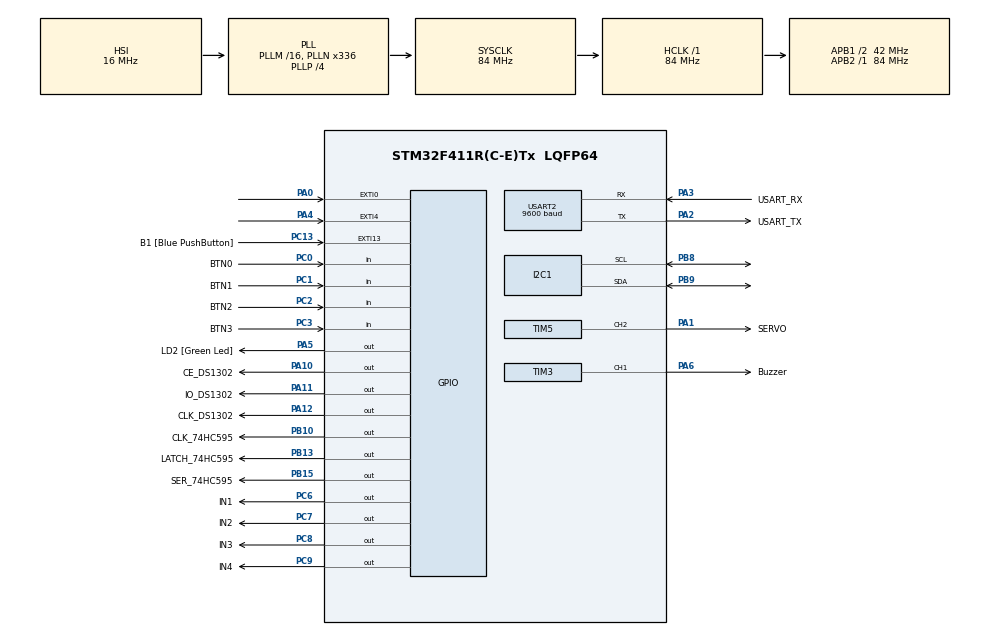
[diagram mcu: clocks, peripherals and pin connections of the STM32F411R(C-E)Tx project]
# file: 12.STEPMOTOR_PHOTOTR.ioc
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FREERTOS.Mutexes01=myMutex01,Dynamic,NULL
FREERTOS.Tasks01=defaultTask,24,128,StartDefaultTask,Default,NULL,Dynamic,NULL,NULL;myTask02,8,128,StartTask02,Default,NULL,Dynamic,NULL,NULL;myTask03,8,128,StartTask03,Default,NULL,Dynamic,NULL,NULL
FREERTOS.configUSE_NEWLIB_REENTRANT=1
Mcu.Family=STM32F4
Mcu.Name=STM32F411R(C-E)Tx
Mcu.Package=LQFP64
NVIC.EXTI0_IRQn=true\:5\:0\:false\:false\:true\:true\:true\:true
NVIC.EXTI4_IRQn=true\:5\:0\:false\:false\:true\:true\:true\:true
NVIC.PriorityGroup=NVIC_PRIORITYGROUP_4
NVIC.TIM1_TRG_COM_TIM11_IRQn=true\:5\:0\:false\:false\:true\:true\:true\:true
NVIC.TIM1_UP_TIM10_IRQn=true\:15\:0\:false\:false\:true\:false\:false\:true
NVIC.TIM3_IRQn=true\:5\:0\:false\:false\:true\:true\:true\:true
NVIC.TIM5_IRQn=true\:5\:0\:false\:false\:true\:true\:true\:true
NVIC.TimeBase=TIM1_UP_TIM10_IRQn
NVIC.TimeBaseIP=TIM10
NVIC.USART2_IRQn=true\:5\:0\:false\:false\:true\:true\:true\:true
PA0-WKUP.Signal=GPXTI0
PA1.GPIO_Label=SERVO
PA1.Signal=S_TIM5_CH2
PA10.GPIO_Label=CE_DS1302
PA10.Signal=GPIO_Output
PA11.GPIO_Label=IO_DS1302
PA11.Signal=GPIO_Output
PA12.GPIO_Label=CLK_DS1302
PA12.Signal=GPIO_Output
PA13.GPIO_Label=TMS
PA13.Mode=Serial_Wire
PA13.Signal=SYS_JTMS-SWDIO
PA14.GPIO_Label=TCK
PA14.Mode=Serial_Wire
PA14.Signal=SYS_JTCK-SWCLK
PA2.GPIO_Label=USART_TX
PA2.Mode=Asynchronous
PA2.Signal=USART2_TX
PA3.GPIO_Label=USART_RX
PA3.Mode=Asynchronous
PA3.Signal=USART2_RX
PA4.Signal=GPXTI4
PA5.GPIO_Label=LD2 [Green Led]
PA5.Signal=GPIO_Output
PA6.GPIO_Label=Buzzer
PA6.Signal=S_TIM3_CH1
PB10.GPIO_Label=CLK_74HC595
PB10.Signal=GPIO_Output
PB13.GPIO_Label=LATCH_74HC595
PB13.Signal=GPIO_Output
PB15.GPIO_Label=SER_74HC595
PB15.Signal=GPIO_Output
PB8.Mode=I2C
PB8.Signal=I2C1_SCL
PB9.Mode=I2C
PB9.Signal=I2C1_SDA
PC0.GPIO_Label=BTN0
PC0.Signal=GPIO_Input
PC1.GPIO_Label=BTN1
PC1.Signal=GPIO_Input
PC13-ANTI_TAMP.GPIO_Label=B1 [Blue PushButton]
PC13-ANTI_TAMP.GPIO_ModeDefaultEXTI=GPIO_MODE_IT_FALLING
PC13-ANTI_TAMP.Signal=GPXTI13
PC14-OSC32_IN.Mode=LSE-External-Oscillator
PC14-OSC32_IN.Signal=RCC_OSC32_IN
PC15-OSC32_OUT.Mode=LSE-External-Oscillator
PC15-OSC32_OUT.Signal=RCC_OSC32_OUT
PC2.GPIO_Label=BTN2
PC2.Signal=GPIO_Input
PC3.GPIO_Label=BTN3
PC3.Signal=GPIO_Input
PC6.GPIO_Label=IN1
PC6.Signal=GPIO_Output
PC7.GPIO_Label=IN2
PC7.Signal=GPIO_Output
PC8.GPIO_Label=IN3
PC8.Signal=GPIO_Output
PC9.GPIO_Label=IN4
PC9.Signal=GPIO_Output
PH0\ -\ OSC_IN.Mode=HSE-External-Clock-Source
PH0\ -\ OSC_IN.Signal=RCC_OSC_IN
PH1\ -\ OSC_OUT.Mode=HSE-External-Clock-Source
PH1\ -\ OSC_OUT.Signal=RCC_OSC_OUT
ProjectManager.HeapSize=0x200
ProjectManager.StackSize=0x400
ProjectManager.TargetToolchain=STM32CubeIDE
RCC.48MHZClocksFreq_Value=84000000
RCC.AHBFreq_Value=84000000
RCC.APB1CLKDivider=RCC_HCLK_DIV2
RCC.APB1Freq_Value=42000000
RCC.APB1TimFreq_Value=84000000
RCC.APB2Freq_Value=84000000
RCC.APB2TimFreq_Value=84000000
RCC.CortexFreq_Value=84000000
RCC.FLatency-AdvancedSettings=FLASH_LATENCY_2
RCC.HCLKFreq_Value=84000000
RCC.HSE_VALUE=8000000
RCC.HSI_VALUE=16000000
RCC.PLLN=336
RCC.PLLP=RCC_PLLP_DIV4
RCC.SYSCLKFreq_VALUE=84000000
RCC.SYSCLKSource=RCC_SYSCLKSOURCE_PLLCLK
RCC.VCOOutputFreq_Value=336000000
SH.S_TIM3_CH1.0=TIM3_CH1,PWM Generation1 CH1
SH.S_TIM5_CH2.0=TIM5_CH2,PWM Generation2 CH2
TIM11.Period=1000-1
TIM11.Prescaler=84-1
TIM2.Prescaler=84-1
TIM3.Channel-PWM\ Generation1\ CH1=TIM_CHANNEL_1
TIM3.Period=400-1
TIM3.Prescaler=52.5-1
TIM3.Pulse-PWM\ Generation1\ CH1=200-1
TIM5.Channel-PWM\ Generation2\ CH2=TIM_CHANNEL_2
TIM5.Period=1000-1
TIM5.Prescaler=1680-1
USART2.BaudRate=9600
USART2.VirtualMode=VM_ASYNC
VP_FREERTOS_VS_CMSIS_V2.Mode=CMSIS_V2
VP_SYS_VS_tim10.Mode=TIM10
VP_TIM11_VS_ClockSourceINT.Mode=Enable_Timer
VP_TIM2_VS_ClockSourceINT.Mode=Internal
VP_TIM3_VS_ClockSourceINT.Mode=Internal
VP_TIM5_VS_ClockSourceINT.Mode=Internal
board=NUCLEO-F411RE

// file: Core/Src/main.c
/* USER CODE BEGIN Header */
/**
  ******************************************************************************
  * @file           : main.c
  * @brief          : Main program body
  ******************************************************************************
  * @attention
  *
  * <h2><center>&copy; Copyright (c) 2025 STMicroelectronics.
  * All rights reserved.</center></h2>
  *
  * This software component is licensed by ST under BSD 3-Clause license,
  * the "License"; You may not use this file except in compliance with the
  * License. You may obtain a copy of the License at:
  *                        opensource.org/licenses/BSD-3-Clause
  *
  ******************************************************************************
  */
/* USER CODE END Header */
#include "main.h"
#include "cmsis_os.h"

/* USER CODE BEGIN Includes */
#include "extern.h"
/* USER CODE END Includes */

I2C_HandleTypeDef hi2c1;

TIM_HandleTypeDef htim2;
TIM_HandleTypeDef htim3;
TIM_HandleTypeDef htim5;
TIM_HandleTypeDef htim11;

UART_HandleTypeDef huart2;

/* Definitions for defaultTask */
osThreadId_t defaultTaskHandle;
const osThreadAttr_t defaultTask_attributes = {
  .name = "defaultTask",
  .stack_size = 128 * 4,
  .priority = (osPriority_t) osPriorityNormal,
};
/* Definitions for myTask02 */
osThreadId_t myTask02Handle;
const osThreadAttr_t myTask02_attributes = {
  .name = "myTask02",
  .stack_size = 128 * 4,
  .priority = (osPriority_t) osPriorityLow,
};
/* Definitions for myTask03 */
osThreadId_t myTask03Handle;
const osThreadAttr_t myTask03_attributes = {
  .name = "myTask03",
  .stack_size = 128 * 4,
  .priority = (osPriority_t) osPriorityLow,
};
/* Definitions for myMutex01 */
osMutexId_t myMutex01Handle;
const osMutexAttr_t myMutex01_attributes = {
  .name = "myMutex01"
};
/* USER CODE BEGIN PV */
uint8_t rx_data; //uart2 rx byte
volatile int TIM11_1ms_counter = 0;
volatile int TIM11_1ms_counter2 = 0;
volatile int line0_timer = 0;
volatile int line1_timer = 0;
/* USER CODE END PV */

void SystemClock_Config(void);
static void MX_GPIO_Init(void);
static void MX_USART2_UART_Init(void);
static void MX_TIM11_Init(void);
static void MX_TIM2_Init(void);
static void MX_I2C1_Init(void);
static void MX_TIM3_Init(void);
static void MX_TIM5_Init(void);
void StartDefaultTask(void *argument);
void StartTask02(void *argument);
void StartTask03(void *argument);

/* USER CODE BEGIN 0 */

#ifdef __GNUC__    // Add for printf
/* With GCC, small printf (option LD Linker->Libraries->Small printf
   set to 'Yes') calls __io_putchar() */
#define PUTCHAR_PROTOTYPE int __io_putchar(int ch)
#else
#define PUTCHAR_PROTOTYPE int fputc(int ch, FILE *f)
#endif /* __GNUC__ */
/**
  * @brief  Retargets the C library printf function to the USART.
  * @param  None
  * @retval None
  */
PUTCHAR_PROTOTYPE   // Add for printf
{
  /* Place your implementation of fputc here */
  /* e.g. write a character to the USART3 and Loop until the end of transmission */
  HAL_UART_Transmit(&huart2, (uint8_t *)&ch, 1, 0xFFFF);

  return ch;
}
/* USER CODE END 0 */

int main(void)
{

  /* MCU Configuration--------------------------------------------------------*/

  /* Reset of all peripherals, Initializes the Flash interface and the Systick. */
  HAL_Init();

  /* Configure the system clock */
  SystemClock_Config();

  /* Initialize all configured peripherals */
  MX_GPIO_Init();
  MX_USART2_UART_Init();
  MX_TIM11_Init();
  MX_TIM2_Init();
  MX_I2C1_Init();
  MX_TIM3_Init();
  MX_TIM5_Init();
  /* USER CODE BEGIN 2 */
  i2c_lcd_init();
  HAL_GPIO_WritePin(GPIOB, GPIO_PIN_10 | GPIO_PIN_13 | GPIO_PIN_15, 0);
  HAL_Delay(10); // DOTMATRIX init

  HAL_UART_Receive_IT(&huart2, &rx_data, 1);
  HAL_TIM_Base_Start_IT(&htim11);
  HAL_TIM_Base_Start_IT(&htim2);  //for make delay_us

  //stepmotor_main();
  //dotmatrix_main_func();
  //dotmatrix_main_test();
  //led_main();
  //i2c_lcd_main();
  //ds1302_main();
  //buzzer_main();
  //servo_motor_main();
  /* USER CODE END 2 */

  /* Init scheduler */
  osKernelInitialize();
  /* Create the mutex(es) */
  /* creation of myMutex01 */
  myMutex01Handle = osMutexNew(&myMutex01_attributes);

  /* Create the thread(s) */
  /* creation of defaultTask */
  defaultTaskHandle = osThreadNew(StartDefaultTask, NULL, &defaultTask_attributes);

  /* creation of myTask02 */
  myTask02Handle = osThreadNew(StartTask02, NULL, &myTask02_attributes);

  /* creation of myTask03 */
  myTask03Handle = osThreadNew(StartTask03, NULL, &myTask03_attributes);

  /* Start scheduler */
  osKernelStart();

  /* We should never get here as control is now taken by the scheduler */
  /* Infinite loop */
  /* USER CODE BEGIN WHILE */
  while (1)
  {
	  button_led_toggle_test();
    /* USER CODE END WHILE */

  }
}

void SystemClock_Config(void)
{
  RCC_OscInitTypeDef RCC_OscInitStruct = {0};
  RCC_ClkInitTypeDef RCC_ClkInitStruct = {0};

  /** Configure the main internal regulator output voltage
  */
  __HAL_RCC_PWR_CLK_ENABLE();
  __HAL_PWR_VOLTAGESCALING_CONFIG(PWR_REGULATOR_VOLTAGE_SCALE1);
  /** Initializes the RCC Oscillators according to the specified parameters
  * in the RCC_OscInitTypeDef structure.
  */
  RCC_OscInitStruct.OscillatorType = RCC_OSCILLATORTYPE_HSI;
  RCC_OscInitStruct.HSIState = RCC_HSI_ON;
  RCC_OscInitStruct.HSICalibrationValue = RCC_HSICALIBRATION_DEFAULT;
  RCC_OscInitStruct.PLL.PLLState = RCC_PLL_ON;
  RCC_OscInitStruct.PLL.PLLSource = RCC_PLLSOURCE_HSI;
  RCC_OscInitStruct.PLL.PLLM = 16;
  RCC_OscInitStruct.PLL.PLLN = 336;
  RCC_OscInitStruct.PLL.PLLP = RCC_PLLP_DIV4;
  RCC_OscInitStruct.PLL.PLLQ = 4;
  if (HAL_RCC_OscConfig(&RCC_OscInitStruct) != HAL_OK)
  {
    Error_Handler();
  }
  /** Initializes the CPU, AHB and APB buses clocks
  */
  RCC_ClkInitStruct.ClockType = RCC_CLOCKTYPE_HCLK|RCC_CLOCKTYPE_SYSCLK
                              |RCC_CLOCKTYPE_PCLK1|RCC_CLOCKTYPE_PCLK2;
  RCC_ClkInitStruct.SYSCLKSource = RCC_SYSCLKSOURCE_PLLCLK;
  RCC_ClkInitStruct.AHBCLKDivider = RCC_SYSCLK_DIV1;
  RCC_ClkInitStruct.APB1CLKDivider = RCC_HCLK_DIV2;
  RCC_ClkInitStruct.APB2CLKDivider = RCC_HCLK_DIV1;

  if (HAL_RCC_ClockConfig(&RCC_ClkInitStruct, FLASH_LATENCY_2) != HAL_OK)
  {
    Error_Handler();
  }
}

static void MX_I2C1_Init(void)
{

  hi2c1.Instance = I2C1;
  hi2c1.Init.ClockSpeed = 100000;
  hi2c1.Init.DutyCycle = I2C_DUTYCYCLE_2;
  hi2c1.Init.OwnAddress1 = 0;
  hi2c1.Init.AddressingMode = I2C_ADDRESSINGMODE_7BIT;
  hi2c1.Init.DualAddressMode = I2C_DUALADDRESS_DISABLE;
  hi2c1.Init.OwnAddress2 = 0;
  hi2c1.Init.GeneralCallMode = I2C_GENERALCALL_DISABLE;
  hi2c1.Init.NoStretchMode = I2C_NOSTRETCH_DISABLE;
  if (HAL_I2C_Init(&hi2c1) != HAL_OK)
  {
    Error_Handler();
  }

}

static void MX_TIM2_Init(void)
{

  TIM_ClockConfigTypeDef sClockSourceConfig = {0};
  TIM_MasterConfigTypeDef sMasterConfig = {0};

  htim2.Instance = TIM2;
  htim2.Init.Prescaler = 84-1;
  htim2.Init.CounterMode = TIM_COUNTERMODE_UP;
  htim2.Init.Period = 4294967295;
  htim2.Init.ClockDivision = TIM_CLOCKDIVISION_DIV1;
  htim2.Init.AutoReloadPreload = TIM_AUTORELOAD_PRELOAD_DISABLE;
  if (HAL_TIM_Base_Init(&htim2) != HAL_OK)
  {
    Error_Handler();
  }
  sClockSourceConfig.ClockSource = TIM_CLOCKSOURCE_INTERNAL;
  if (HAL_TIM_ConfigClockSource(&htim2, &sClockSourceConfig) != HAL_OK)
  {
    Error_Handler();
  }
  sMasterConfig.MasterOutputTrigger = TIM_TRGO_RESET;
  sMasterConfig.MasterSlaveMode = TIM_MASTERSLAVEMODE_DISABLE;
  if (HAL_TIMEx_MasterConfigSynchronization(&htim2, &sMasterConfig) != HAL_OK)
  {
    Error_Handler();
  }

}

static void MX_TIM3_Init(void)
{

  TIM_ClockConfigTypeDef sClockSourceConfig = {0};
  TIM_MasterConfigTypeDef sMasterConfig = {0};
  TIM_OC_InitTypeDef sConfigOC = {0};

  htim3.Instance = TIM3;
  htim3.Init.Prescaler = 52.5-1;
  htim3.Init.CounterMode = TIM_COUNTERMODE_UP;
  htim3.Init.Period = 400-1;
  htim3.Init.ClockDivision = TIM_CLOCKDIVISION_DIV1;
  htim3.Init.AutoReloadPreload = TIM_AUTORELOAD_PRELOAD_DISABLE;
  if (HAL_TIM_Base_Init(&htim3) != HAL_OK)
  {
    Error_Handler();
  }
  sClockSourceConfig.ClockSource = TIM_CLOCKSOURCE_INTERNAL;
  if (HAL_TIM_ConfigClockSource(&htim3, &sClockSourceConfig) != HAL_OK)
  {
    Error_Handler();
  }
  if (HAL_TIM_PWM_Init(&htim3) != HAL_OK)
  {
    Error_Handler();
  }
  sMasterConfig.MasterOutputTrigger = TIM_TRGO_RESET;
  sMasterConfig.MasterSlaveMode = TIM_MASTERSLAVEMODE_DISABLE;
  if (HAL_TIMEx_MasterConfigSynchronization(&htim3, &sMasterConfig) != HAL_OK)
  {
    Error_Handler();
  }
  sConfigOC.OCMode = TIM_OCMODE_PWM1;
  sConfigOC.Pulse = 200-1;
  sConfigOC.OCPolarity = TIM_OCPOLARITY_HIGH;
  sConfigOC.OCFastMode = TIM_OCFAST_DISABLE;
  if (HAL_TIM_PWM_ConfigChannel(&htim3, &sConfigOC, TIM_CHANNEL_1) != HAL_OK)
  {
    Error_Handler();
  }
  HAL_TIM_MspPostInit(&htim3);

}

static void MX_TIM5_Init(void)
{

  TIM_ClockConfigTypeDef sClockSourceConfig = {0};
  TIM_MasterConfigTypeDef sMasterConfig = {0};
  TIM_OC_InitTypeDef sConfigOC = {0};

  htim5.Instance = TIM5;
  htim5.Init.Prescaler = 1680-1;
  htim5.Init.CounterMode = TIM_COUNTERMODE_UP;
  htim5.Init.Period = 1000-1;
  htim5.Init.ClockDivision = TIM_CLOCKDIVISION_DIV1;
  htim5.Init.AutoReloadPreload = TIM_AUTORELOAD_PRELOAD_DISABLE;
  if (HAL_TIM_Base_Init(&htim5) != HAL_OK)
  {
    Error_Handler();
  }
  sClockSourceConfig.ClockSource = TIM_CLOCKSOURCE_INTERNAL;
  if (HAL_TIM_ConfigClockSource(&htim5, &sClockSourceConfig) != HAL_OK)
  {
    Error_Handler();
  }
  if (HAL_TIM_PWM_Init(&htim5) != HAL_OK)
  {
    Error_Handler();
  }
  sMasterConfig.MasterOutputTrigger = TIM_TRGO_RESET;
  sMasterConfig.MasterSlaveMode = TIM_MASTERSLAVEMODE_DISABLE;
  if (HAL_TIMEx_MasterConfigSynchronization(&htim5, &sMasterConfig) != HAL_OK)
  {
    Error_Handler();
  }
  sConfigOC.OCMode = TIM_OCMODE_PWM1;
  sConfigOC.Pulse = 0;
  sConfigOC.OCPolarity = TIM_OCPOLARITY_HIGH;
  sConfigOC.OCFastMode = TIM_OCFAST_DISABLE;
  if (HAL_TIM_PWM_ConfigChannel(&htim5, &sConfigOC, TIM_CHANNEL_2) != HAL_OK)
  {
    Error_Handler();
  }
  HAL_TIM_MspPostInit(&htim5);

}

static void MX_TIM11_Init(void)
{

  htim11.Instance = TIM11;
  htim11.Init.Prescaler = 84-1;
  htim11.Init.CounterMode = TIM_COUNTERMODE_UP;
  htim11.Init.Period = 1000-1;
  htim11.Init.ClockDivision = TIM_CLOCKDIVISION_DIV1;
  htim11.Init.AutoReloadPreload = TIM_AUTORELOAD_PRELOAD_DISABLE;
  if (HAL_TIM_Base_Init(&htim11) != HAL_OK)
  {
    Error_Handler();
  }

}

static void MX_USART2_UART_Init(void)
{

  huart2.Instance = USART2;
  huart2.Init.BaudRate = 9600;
  huart2.Init.WordLength = UART_WORDLENGTH_8B;
  huart2.Init.StopBits = UART_STOPBITS_1;
  huart2.Init.Parity = UART_PARITY_NONE;
  huart2.Init.Mode = UART_MODE_TX_RX;
  huart2.Init.HwFlowCtl = UART_HWCONTROL_NONE;
  huart2.Init.OverSampling = UART_OVERSAMPLING_16;
  if (HAL_UART_Init(&huart2) != HAL_OK)
  {
    Error_Handler();
  }

}

static void MX_GPIO_Init(void)
{
  GPIO_InitTypeDef GPIO_InitStruct = {0};

  /* GPIO Ports Clock Enable */
  __HAL_RCC_GPIOC_CLK_ENABLE();
  __HAL_RCC_GPIOH_CLK_ENABLE();
  __HAL_RCC_GPIOA_CLK_ENABLE();
  __HAL_RCC_GPIOB_CLK_ENABLE();

  /*Configure GPIO pin Output Level */
  HAL_GPIO_WritePin(GPIOA, LD2_Pin|CE_DS1302_Pin|IO_DS1302_Pin|CLK_DS1302_Pin, GPIO_PIN_RESET);

  /*Configure GPIO pin Output Level */
  HAL_GPIO_WritePin(GPIOB, CLK_74HC595_Pin|LATCH_74HC595_Pin|SER_74HC595_Pin, GPIO_PIN_RESET);

  /*Configure GPIO pin Output Level */
  HAL_GPIO_WritePin(GPIOC, IN1_Pin|IN2_Pin|IN3_Pin|IN4_Pin, GPIO_PIN_RESET);

  /*Configure GPIO pin : B1_Pin */
  GPIO_InitStruct.Pin = B1_Pin;
  GPIO_InitStruct.Mode = GPIO_MODE_IT_FALLING;
  GPIO_InitStruct.Pull = GPIO_NOPULL;
  HAL_GPIO_Init(B1_GPIO_Port, &GPIO_InitStruct);

  /*Configure GPIO pins : BTN0_Pin BTN1_Pin BTN2_Pin BTN3_Pin */
  GPIO_InitStruct.Pin = BTN0_Pin|BTN1_Pin|BTN2_Pin|BTN3_Pin;
  GPIO_InitStruct.Mode = GPIO_MODE_INPUT;
  GPIO_InitStruct.Pull = GPIO_NOPULL;
  HAL_GPIO_Init(GPIOC, &GPIO_InitStruct);

  /*Configure GPIO pins : PA0 PA4 */
  GPIO_InitStruct.Pin = GPIO_PIN_0|GPIO_PIN_4;
  GPIO_InitStruct.Mode = GPIO_MODE_IT_RISING;
  GPIO_InitStruct.Pull = GPIO_NOPULL;
  HAL_GPIO_Init(GPIOA, &GPIO_InitStruct);

  /*Configure GPIO pins : LD2_Pin CE_DS1302_Pin IO_DS1302_Pin CLK_DS1302_Pin */
  GPIO_InitStruct.Pin = LD2_Pin|CE_DS1302_Pin|IO_DS1302_Pin|CLK_DS1302_Pin;
  GPIO_InitStruct.Mode = GPIO_MODE_OUTPUT_PP;
  GPIO_InitStruct.Pull = GPIO_NOPULL;
  GPIO_InitStruct.Speed = GPIO_SPEED_FREQ_LOW;
  HAL_GPIO_Init(GPIOA, &GPIO_InitStruct);

  /*Configure GPIO pins : CLK_74HC595_Pin LATCH_74HC595_Pin SER_74HC595_Pin */
  GPIO_InitStruct.Pin = CLK_74HC595_Pin|LATCH_74HC595_Pin|SER_74HC595_Pin;
  GPIO_InitStruct.Mode = GPIO_MODE_OUTPUT_PP;
  GPIO_InitStruct.Pull = GPIO_NOPULL;
  GPIO_InitStruct.Speed = GPIO_SPEED_FREQ_LOW;
  HAL_GPIO_Init(GPIOB, &GPIO_InitStruct);

  /*Configure GPIO pins : IN1_Pin IN2_Pin IN3_Pin IN4_Pin */
  GPIO_InitStruct.Pin = IN1_Pin|IN2_Pin|IN3_Pin|IN4_Pin;
  GPIO_InitStruct.Mode = GPIO_MODE_OUTPUT_PP;
  GPIO_InitStruct.Pull = GPIO_NOPULL;
  GPIO_InitStruct.Speed = GPIO_SPEED_FREQ_LOW;
  HAL_GPIO_Init(GPIOC, &GPIO_InitStruct);

  /* EXTI interrupt init*/
  HAL_NVIC_SetPriority(EXTI0_IRQn, 5, 0);
  HAL_NVIC_EnableIRQ(EXTI0_IRQn);

  HAL_NVIC_SetPriority(EXTI4_IRQn, 5, 0);
  HAL_NVIC_EnableIRQ(EXTI4_IRQn);

}

void StartDefaultTask(void *argument)
{
  /* USER CODE BEGIN 5 */
  /* Infinite loop */
  for(;;)
  {
    HAL_GPIO_TogglePin(GPIOA, GPIO_PIN_5);
    osDelay(50);
  }
  /* USER CODE END 5 */
}

void StartTask02(void *argument)
{
  /* USER CODE BEGIN StartTask02 */
  /* Infinite loop */
  for(;;)
  {
	shift_left_ledon();
	dotmatrix_main_test();
	if(osMutexWait(myMutex01Handle, 1000) == osOK) // lock key
	{
		i2c_lcd_dis_line0();
		osMutexRelease(myMutex01Handle); // unlock key
	}
    osDelay(1);
  }
  /* USER CODE END StartTask02 */
}

void StartTask03(void *argument)
{
  /* USER CODE BEGIN StartTask03 */
  /* Infinite loop */
  for(;;)
  {
	  stepmotor_main();
	  if(osMutexWait(myMutex01Handle, 1000) == osOK) // lock key
	  {
	      i2c_lcd_dis_line1();
		  osMutexRelease(myMutex01Handle); // unlock key
	  }
	  osDelay(1);
  }
  /* USER CODE END StartTask03 */
}

void HAL_TIM_PeriodElapsedCallback(TIM_HandleTypeDef *htim)
{
  if (htim->Instance == TIM10) {
    HAL_IncTick();
  }
  /* USER CODE BEGIN Callback 1 */
  if (htim->Instance == TIM11) {
	  TIM11_1ms_counter++;
	  TIM11_1ms_counter2++;
line0_timer++;
line1_timer++;
  }
  /* USER CODE END Callback 1 */
}

void Error_Handler(void)
{
  __disable_irq();
  while (1)
  {
  }
}

/************************ (C) COPYRIGHT STMicroelectronics *****END OF FILE****/
